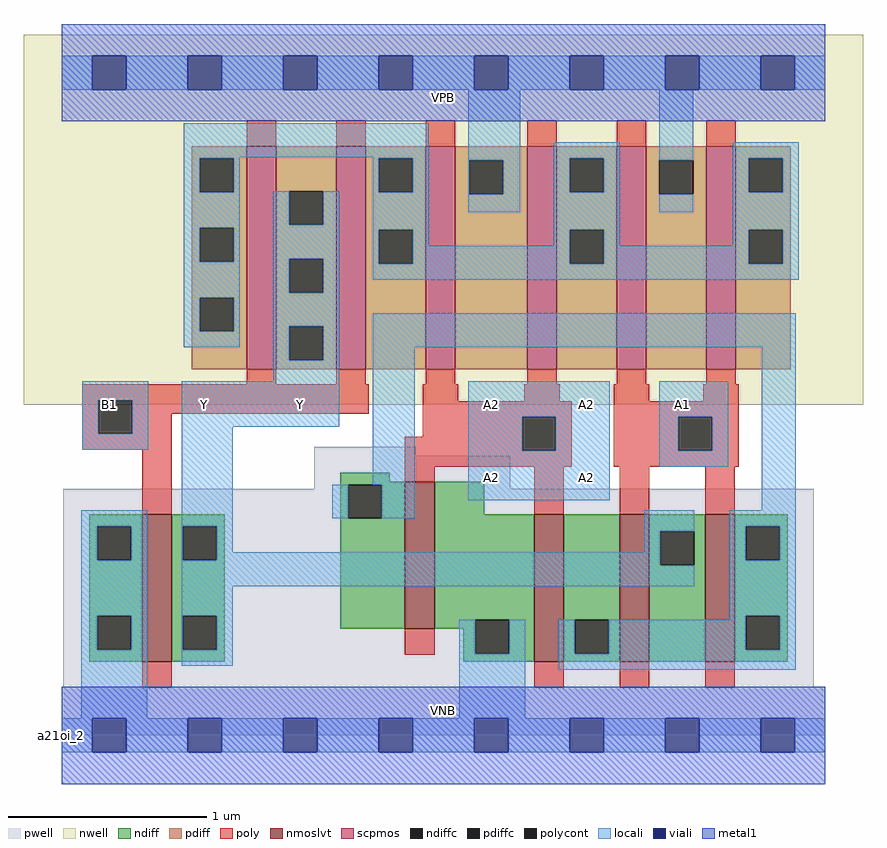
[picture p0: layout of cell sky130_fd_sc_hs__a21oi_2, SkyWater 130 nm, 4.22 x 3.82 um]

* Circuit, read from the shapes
.subckt sky130_fd_sc_hs__a21oi_2 A1 A2 B1 VGND VNB VPB VPWR Y
XM1 Y B1 VGND VNB sky130_fd_pr__nfet_01v8_lvt w=0.74 l=0.15
XM2 VGND A2 n1 VNB sky130_fd_pr__nfet_01v8_lvt w=0.74 l=0.15 m=2
XM3 Y A1 n1 VNB sky130_fd_pr__nfet_01v8_lvt w=0.74 l=0.15 m=2
XM4 Y B1 n2 VPB sky130_fd_pr__pfet_01v8 w=1.12 l=0.15 m=2
XM5 VPWR A2 n2 VPB sky130_fd_pr__pfet_01v8 w=1.12 l=0.15 m=2
XM6 VPWR A1 n2 VPB sky130_fd_pr__pfet_01v8 w=1.12 l=0.15 m=2
.ends

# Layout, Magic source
magic
tech sky130A
magscale 1 2
<< nwell >>
rect -38 332 806 704
<< pwell >>
rect 254 281 356 290
rect 254 248 451 281
rect 2 49 756 248
rect 0 0 768 49
<< scpmos >>
rect 186 368 216 592
rect 276 368 306 592
rect 366 368 396 592
rect 468 368 498 592
rect 558 368 588 592
rect 648 368 678 592
<< nmoslvt >>
rect 81 74 111 222
rect 345 107 375 255
rect 475 74 505 222
rect 561 74 591 222
rect 647 74 677 222
<< ndiff >>
rect 280 255 330 264
rect 280 252 345 255
rect 28 210 81 222
rect 28 176 36 210
rect 70 176 81 210
rect 28 120 81 176
rect 28 86 36 120
rect 70 86 81 120
rect 28 74 81 86
rect 111 210 164 222
rect 111 176 122 210
rect 156 176 164 210
rect 111 120 164 176
rect 111 86 122 120
rect 156 86 164 120
rect 280 218 288 252
rect 322 218 345 252
rect 280 107 345 218
rect 375 222 425 255
rect 375 116 475 222
rect 375 107 416 116
rect 111 74 164 86
rect 404 82 416 107
rect 450 82 475 116
rect 404 74 475 82
rect 505 116 561 222
rect 505 82 516 116
rect 550 82 561 116
rect 505 74 561 82
rect 591 205 647 222
rect 591 171 602 205
rect 636 171 647 205
rect 591 74 647 171
rect 677 210 730 222
rect 677 176 688 210
rect 722 176 730 210
rect 677 120 730 176
rect 677 86 688 120
rect 722 86 730 120
rect 677 74 730 86
<< pdiff >>
rect 131 580 186 592
rect 131 546 139 580
rect 173 546 186 580
rect 131 510 186 546
rect 131 476 139 510
rect 173 476 186 510
rect 131 440 186 476
rect 131 406 139 440
rect 173 406 186 440
rect 131 368 186 406
rect 216 547 276 592
rect 216 513 229 547
rect 263 513 276 547
rect 216 479 276 513
rect 216 445 229 479
rect 263 445 276 479
rect 216 411 276 445
rect 216 377 229 411
rect 263 377 276 411
rect 216 368 276 377
rect 306 580 366 592
rect 306 546 319 580
rect 353 546 366 580
rect 306 508 366 546
rect 306 474 319 508
rect 353 474 366 508
rect 306 368 366 474
rect 396 578 468 592
rect 396 544 410 578
rect 444 544 468 578
rect 396 368 468 544
rect 498 580 558 592
rect 498 546 511 580
rect 545 546 558 580
rect 498 508 558 546
rect 498 474 511 508
rect 545 474 558 508
rect 498 368 558 474
rect 588 578 648 592
rect 588 544 601 578
rect 635 544 648 578
rect 588 368 648 544
rect 678 580 733 592
rect 678 546 691 580
rect 725 546 733 580
rect 678 508 733 546
rect 678 474 691 508
rect 725 474 733 508
rect 678 368 733 474
<< ndiffc >>
rect 36 176 70 210
rect 36 86 70 120
rect 122 176 156 210
rect 122 86 156 120
rect 288 218 322 252
rect 416 82 450 116
rect 516 82 550 116
rect 602 171 636 205
rect 688 176 722 210
rect 688 86 722 120
<< pdiffc >>
rect 139 546 173 580
rect 139 476 173 510
rect 139 406 173 440
rect 229 513 263 547
rect 229 445 263 479
rect 229 377 263 411
rect 319 546 353 580
rect 319 474 353 508
rect 410 544 444 578
rect 511 546 545 580
rect 511 474 545 508
rect 601 544 635 578
rect 691 546 725 580
rect 691 474 725 508
<< poly >>
rect 186 592 216 618
rect 276 592 306 618
rect 366 592 396 618
rect 468 592 498 618
rect 558 592 588 618
rect 648 592 678 618
rect 186 353 216 368
rect 276 353 306 368
rect 366 353 396 368
rect 468 353 498 368
rect 558 353 588 368
rect 648 353 678 368
rect 21 337 309 353
rect 21 303 37 337
rect 71 323 309 337
rect 363 336 399 353
rect 465 336 501 353
rect 555 336 591 353
rect 645 336 681 353
rect 71 303 111 323
rect 21 287 111 303
rect 363 320 513 336
rect 363 300 463 320
rect 81 222 111 287
rect 345 286 463 300
rect 497 286 513 320
rect 345 270 513 286
rect 555 320 681 336
rect 555 286 620 320
rect 654 286 681 320
rect 555 270 681 286
rect 345 255 375 270
rect 475 222 505 270
rect 561 222 591 270
rect 647 222 677 270
rect 345 81 375 107
rect 81 48 111 74
rect 475 48 505 74
rect 561 48 591 74
rect 647 48 677 74
<< polycont >>
rect 37 303 71 337
rect 463 286 497 320
rect 620 286 654 320
<< locali >>
rect 0 649 31 683
rect 65 649 127 683
rect 161 649 223 683
rect 257 649 319 683
rect 353 649 415 683
rect 449 649 511 683
rect 545 649 607 683
rect 641 649 703 683
rect 737 649 768 683
rect 123 581 369 615
rect 123 580 179 581
rect 123 546 139 580
rect 173 546 179 580
rect 313 580 369 581
rect 123 510 179 546
rect 123 476 139 510
rect 173 476 179 510
rect 123 440 179 476
rect 123 406 139 440
rect 173 406 179 440
rect 123 390 179 406
rect 213 513 229 547
rect 263 513 279 547
rect 213 479 279 513
rect 213 445 229 479
rect 263 445 279 479
rect 313 546 319 580
rect 353 546 369 580
rect 313 508 369 546
rect 409 578 461 649
rect 409 544 410 578
rect 444 544 461 578
rect 409 526 461 544
rect 495 580 561 596
rect 495 546 511 580
rect 545 546 561 580
rect 313 474 319 508
rect 353 492 369 508
rect 495 508 561 546
rect 601 578 635 649
rect 601 526 635 544
rect 675 580 741 596
rect 675 546 691 580
rect 725 546 741 580
rect 495 492 511 508
rect 353 474 511 492
rect 545 492 561 508
rect 675 508 741 546
rect 675 492 691 508
rect 545 474 691 492
rect 725 474 741 508
rect 313 458 741 474
rect 213 411 279 445
rect 213 377 229 411
rect 263 377 279 411
rect 213 356 279 377
rect 21 337 87 356
rect 21 303 37 337
rect 71 303 87 337
rect 21 287 87 303
rect 121 310 279 356
rect 313 390 738 424
rect 20 210 86 226
rect 20 176 36 210
rect 70 176 86 210
rect 20 120 86 176
rect 20 86 36 120
rect 70 86 86 120
rect 20 17 86 86
rect 121 210 172 310
rect 313 252 355 390
rect 272 218 288 252
rect 322 218 355 252
rect 409 320 551 356
rect 409 286 463 320
rect 497 286 551 320
rect 409 236 551 286
rect 601 320 670 356
rect 601 286 620 320
rect 654 286 670 320
rect 601 270 670 286
rect 704 226 738 390
rect 121 176 122 210
rect 156 184 172 210
rect 586 205 636 226
rect 586 184 602 205
rect 156 176 602 184
rect 121 171 602 176
rect 121 150 636 171
rect 672 210 738 226
rect 672 176 688 210
rect 722 176 738 210
rect 121 120 172 150
rect 121 86 122 120
rect 156 86 172 120
rect 672 120 738 176
rect 672 116 688 120
rect 121 70 172 86
rect 400 82 416 116
rect 450 82 466 116
rect 400 17 466 82
rect 500 82 516 116
rect 550 86 688 116
rect 722 86 738 120
rect 550 82 738 86
rect 500 66 738 82
rect 0 -17 31 17
rect 65 -17 127 17
rect 161 -17 223 17
rect 257 -17 319 17
rect 353 -17 415 17
rect 449 -17 511 17
rect 545 -17 607 17
rect 641 -17 703 17
rect 737 -17 768 17
<< viali >>
rect 31 649 65 683
rect 127 649 161 683
rect 223 649 257 683
rect 319 649 353 683
rect 415 649 449 683
rect 511 649 545 683
rect 607 649 641 683
rect 703 649 737 683
rect 31 -17 65 17
rect 127 -17 161 17
rect 223 -17 257 17
rect 319 -17 353 17
rect 415 -17 449 17
rect 511 -17 545 17
rect 607 -17 641 17
rect 703 -17 737 17
<< metal1 >>
rect 0 683 768 715
rect 0 649 31 683
rect 65 649 127 683
rect 161 649 223 683
rect 257 649 319 683
rect 353 649 415 683
rect 449 649 511 683
rect 545 649 607 683
rect 641 649 703 683
rect 737 649 768 683
rect 0 617 768 649
rect 0 17 768 49
rect 0 -17 31 17
rect 65 -17 127 17
rect 161 -17 223 17
rect 257 -17 319 17
rect 353 -17 415 17
rect 449 -17 511 17
rect 545 -17 607 17
rect 641 -17 703 17
rect 737 -17 768 17
rect 0 -49 768 -17
<< labels >>
rlabel comment s 0 0 0 0 4 a21oi_2
flabel pwell s 0 0 768 49 0 FreeSans 200 0 0 0 VNB
port 5 nsew ground bidirectional
flabel nwell s 0 617 768 666 0 FreeSans 200 0 0 0 VPB
port 6 nsew power bidirectional
flabel metal1 s 0 617 768 666 0 FreeSans 340 0 0 0 VPWR
port 7 nsew power bidirectional
flabel metal1 s 0 0 768 49 0 FreeSans 340 0 0 0 VGND
port 4 nsew ground bidirectional
flabel locali s 127 316 161 350 0 FreeSans 340 0 0 0 Y
port 8 nsew signal output
flabel locali s 223 316 257 350 0 FreeSans 340 0 0 0 Y
port 8 nsew signal output
flabel locali s 31 316 65 350 0 FreeSans 340 0 0 0 B1
port 3 nsew signal input
flabel locali s 415 242 449 276 0 FreeSans 340 0 0 0 A2
port 2 nsew signal input
flabel locali s 415 316 449 350 0 FreeSans 340 0 0 0 A2
port 2 nsew signal input
flabel locali s 511 242 545 276 0 FreeSans 340 0 0 0 A2
port 2 nsew signal input
flabel locali s 511 316 545 350 0 FreeSans 340 0 0 0 A2
port 2 nsew signal input
flabel locali s 607 316 641 350 0 FreeSans 340 0 0 0 A1
port 1 nsew signal input
<< properties >>
string LEFsite unit
string LEFclass CORE
string FIXED_BBOX 0 0 768 666
string GDS_FILE $PDKPATH/libs.ref/sky130_fd_sc_hs/gds/sky130_fd_sc_hs.gds
string LEFsymmetry X Y
string GDS_END 2542230
string GDS_START 2535304
<< end >>
